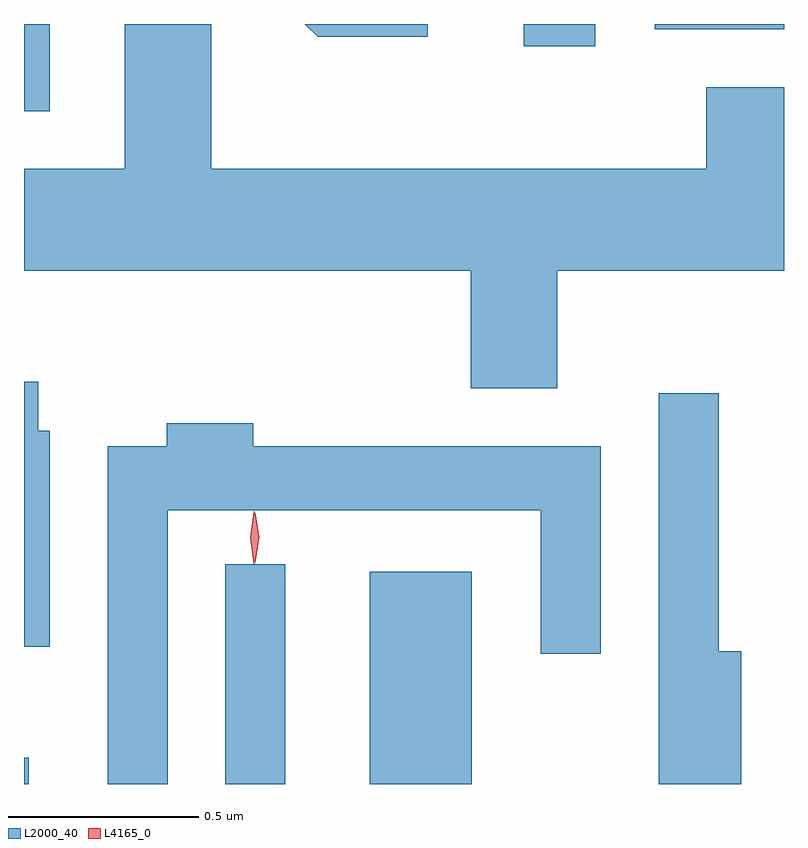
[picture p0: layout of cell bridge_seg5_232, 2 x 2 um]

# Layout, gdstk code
import gdstk
lib = gdstk.Library(unit=1e-6, precision=1e-09)
def R(c, l, rs):  # rectangles x0, y0, x1, y1
    for r in rs: c.add(gdstk.rectangle(r[:2], r[2:], *l))
def P(c, l, *ps):  # polygons
    for p in ps: c.add(gdstk.Polygon(p, *l))
L2000_40 = (2000, 40)
L4165_0 = (4165, 0)

bridge_seg5_232 = lib.new_cell('bridge_seg5_232')
R(bridge_seg5_232, L2000_40, [(1281.426,1422.145,1281.439,1422.214), (1281.956,1422.145,1282.114,1422.723), (1282.336,1422.145,1282.604,1422.704), (1281.426,1423.916,1281.494,1424.145), (1282.741,1424.086,1282.929,1424.145), (1283.086,1424.131,1283.426,1424.145)])
P(bridge_seg5_232, L2000_40, [(1282.488,1424.145),(1282.165,1424.145),(1282.199,1424.111),(1282.488,1424.111)],
  [(1282.829,1423.496),(1283.426,1423.496),(1283.426,1423.979),(1283.221,1423.979),(1283.221,1423.764),(1281.919,1423.764),(1281.919,1424.144),(1281.691,1424.144),(1281.691,1423.764),(1281.426,1423.764),(1281.426,1423.496),(1282.601,1423.496),(1282.601,1423.186),(1282.829,1423.186)],
  [(1281.494,1423.074),(1281.464,1423.074),(1281.464,1423.204),(1281.426,1423.204),(1281.426,1422.506),(1281.494,1422.506)],
  [(1283.314,1422.494),(1283.254,1422.494),(1283.254,1423.173),(1283.096,1423.173),(1283.096,1422.145),(1283.314,1422.145)],
  [(1281.804,1422.866),(1282.786,1422.866),(1282.786,1422.488),(1282.944,1422.488),(1282.944,1423.034),(1282.029,1423.034),(1282.029,1423.094),(1281.801,1423.094),(1281.801,1423.034),(1281.646,1423.034),(1281.646,1422.145),(1281.804,1422.145)])
P(bridge_seg5_232, L4165_0, [(1282.031,1422.724),(1282.021,1422.793),(1282.03,1422.862),(1282.031,1422.863),(1282.032,1422.862),(1282.041,1422.793),(1282.032,1422.724),(1282.032,1422.724)],
  [(1282.034,1422.727),(1282.025,1422.794),(1282.034,1422.86),(1282.035,1422.861),(1282.035,1422.86),(1282.045,1422.794),(1282.035,1422.727),(1282.035,1422.727)])

lib.write_gds('bridge_seg5_232.gds')
